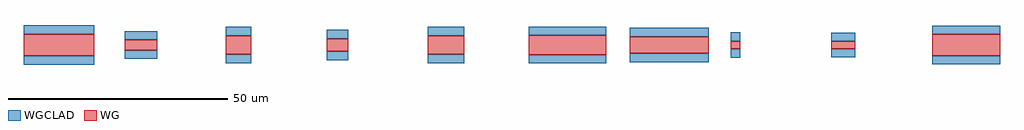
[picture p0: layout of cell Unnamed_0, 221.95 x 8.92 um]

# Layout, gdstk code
import gdstk
lib = gdstk.Library(unit=1e-6, precision=1e-09)
def R(c, l, rs):  # rectangles x0, y0, x1, y1
    for r in rs: c.add(gdstk.rectangle(r[:2], r[2:], *l))
WG = (1, 0)
WGCLAD = (111, 0)

straight_cssym_f7fe636c_ = lib.new_cell('straight_CSsym_f7fe636c_4852_L15376')
R(straight_cssym_f7fe636c_, WG, [(0,-2.426,15.376,2.426)])
R(straight_cssym_f7fe636c_, WGCLAD, [(0,-4.426,15.376,-2.426), (0,2.426,15.376,4.426)])

c_straight_cssym_f7fe636c_ = lib.new_cell('straight_CSsym_f7fe636c_1616_L5444')
R(c_straight_cssym_f7fe636c_, WG, [(0,-0.808,5.444,0.808)])
R(c_straight_cssym_f7fe636c_, WGCLAD, [(0,-2.808,5.444,-0.808), (0,0.808,5.444,2.808)])

c_straight_cssym_f7fe636c__ = lib.new_cell('straight_CSsym_f7fe636c_1708_L2237')
R(c_straight_cssym_f7fe636c__, WG, [(0,-0.854,2.237,0.854)])
R(c_straight_cssym_f7fe636c__, WGCLAD, [(0,-2.854,2.237,-0.854), (0,0.854,2.237,2.854)])

c_straight_cssym_f7fe636c___ = lib.new_cell('straight_CSsym_f7fe636c_3858_L17953')
R(c_straight_cssym_f7fe636c___, WG, [(0,-1.929,17.953,1.929)])
R(c_straight_cssym_f7fe636c___, WGCLAD, [(0,-3.929,17.953,-1.929), (0,1.929,17.953,3.929)])

c_straight_cssym_f7fe636c____ = lib.new_cell('straight_CSsym_f7fe636c_4348_L17635')
R(c_straight_cssym_f7fe636c____, WG, [(0,-2.174,17.635,2.174)])
R(c_straight_cssym_f7fe636c____, WGCLAD, [(0,-4.174,17.635,-2.174), (0,2.174,17.635,4.174)])

c_straight_cssym_f7fe636c_____ = lib.new_cell('straight_CSsym_f7fe636c_4260_L8308')
R(c_straight_cssym_f7fe636c_____, WG, [(0,-2.13,8.308,2.13)])
R(c_straight_cssym_f7fe636c_____, WGCLAD, [(0,-4.13,8.308,-2.13), (0,2.13,8.308,4.13)])

c_straight_cssym_f7fe636c______ = lib.new_cell('straight_CSsym_f7fe636c_2952_L4921')
R(c_straight_cssym_f7fe636c______, WG, [(0,-1.476,4.921,1.476)])
R(c_straight_cssym_f7fe636c______, WGCLAD, [(0,-3.476,4.921,-1.476), (0,1.476,4.921,3.476)])

c_straight_cssym_f7fe636c_______ = lib.new_cell('straight_CSsym_f7fe636c_4246_L5785')
R(c_straight_cssym_f7fe636c_______, WG, [(0,-2.123,5.785,2.123)])
R(c_straight_cssym_f7fe636c_______, WGCLAD, [(0,-4.123,5.785,-2.123), (0,2.123,5.785,4.123)])

c_straight_cssym_f7fe636c________ = lib.new_cell('straight_CSsym_f7fe636c_2316_L7403')
R(c_straight_cssym_f7fe636c________, WG, [(0,-1.158,7.403,1.158)])
R(c_straight_cssym_f7fe636c________, WGCLAD, [(0,-3.158,7.403,-1.158), (0,1.158,7.403,3.158)])

c_straight_cssym_f7fe636c_________ = lib.new_cell('straight_CSsym_f7fe636c_4920_L15921')
R(c_straight_cssym_f7fe636c_________, WG, [(0,-2.46,15.921,2.46)])
R(c_straight_cssym_f7fe636c_________, WGCLAD, [(0,-4.46,15.921,-2.46), (0,2.46,15.921,4.46)])

unnamed_0 = lib.new_cell('Unnamed_0')
unnamed_0.add(gdstk.Reference(straight_cssym_f7fe636c_, (206.577,6.96)))
unnamed_0.add(gdstk.Reference(c_straight_cssym_f7fe636c_, (183.624,6.96)))
unnamed_0.add(gdstk.Reference(c_straight_cssym_f7fe636c__, (160.671,6.96)))
unnamed_0.add(gdstk.Reference(c_straight_cssym_f7fe636c___, (137.718,6.96)))
unnamed_0.add(gdstk.Reference(c_straight_cssym_f7fe636c____, (114.765,6.96)))
unnamed_0.add(gdstk.Reference(c_straight_cssym_f7fe636c_____, (91.812,6.96)))
unnamed_0.add(gdstk.Reference(c_straight_cssym_f7fe636c______, (68.859,6.96)))
unnamed_0.add(gdstk.Reference(c_straight_cssym_f7fe636c_______, (45.906,6.96)))
unnamed_0.add(gdstk.Reference(c_straight_cssym_f7fe636c________, (22.953,6.96)))
unnamed_0.add(gdstk.Reference(c_straight_cssym_f7fe636c_________, (0,6.96)))

lib.write_gds('Unnamed_0.gds')
